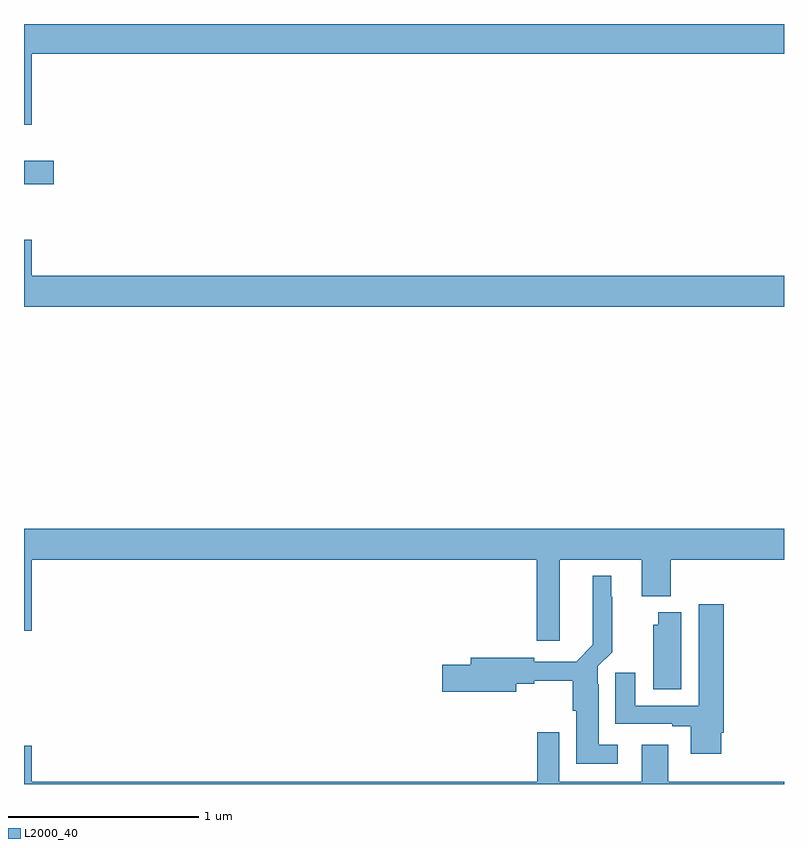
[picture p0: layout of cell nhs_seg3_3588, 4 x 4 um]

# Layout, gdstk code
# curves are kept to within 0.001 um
import gdstk
lib = gdstk.Library(unit=1e-6, precision=1e-09)
def R(c, l, rs):  # rectangles x0, y0, x1, y1
    for r in rs: c.add(gdstk.rectangle(r[:2], r[2:], *l))
def P(c, l, *ps):  # polygons
    for p in ps: c.add(gdstk.Polygon(p, *l))
L2000_40 = (2000, 40)

nhs_seg3_3588 = lib.new_cell('nhs_seg3_3588')
R(nhs_seg3_3588, L2000_40, [(297,705.557,297.157,705.679)])
P(nhs_seg3_3588, L2000_40, [(297.04,706.244),(301,706.244),(301,706.4),(297,706.4),(297,705.87),(297.04,705.87)],
  [(301,705.076),(297.04,705.076),(297.04,705.265),(297,705.265),(297,704.912),(301,704.912)],
  [(299.821,703.58),(300.251,703.58),(300.251,703.388),(300.404,703.388),(300.404,703.58),(301,703.58),(301,703.744),(297,703.744),(297,703.206),(297.04,703.206),(297.04,703.58),(299.699,703.58),(299.699,703.155),(299.821,703.155)],
  [(300.124,702.607),(300.025,702.607),(300.025,702.926),(300.021,702.926),(300.021,703.02),(300.095,703.094),(300.095,703.385),(300.091,703.385),(300.091,703.495),(299.993,703.495),(299.994,703.132),(299.906,703.044),(299.686,703.044),(299.686,703.064),(299.351,703.064),(299.351,703.028),(299.202,703.028),(299.202,702.886),(299.59,702.886),(299.59,702.928),(299.686,702.928),(299.686,702.943),(299.888,702.943),(299.888,702.786),(299.906,702.786),(299.906,702.506),(300.124,702.506)],
  [(300.67,702.67),(300.683,702.67),(300.683,703.345),(300.551,703.345),(300.551,702.813),(300.217,702.813),(300.217,702.985),(300.113,702.985),(300.113,702.717),(300.413,702.717),(300.413,702.705),(300.509,702.705),(300.509,702.558),(300.67,702.558)],
  [(300.46,703.303),(300.338,703.303),(300.338,703.239),(300.311,703.239),(300.311,702.898),(300.46,702.898)],
  [(301,702.412),(300.391,702.412),(300.391,702.607),(300.251,702.607),(300.251,702.412),(299.817,702.412),(299.817,702.673),(299.701,702.673),(299.701,702.412),(297.04,702.412),(297.04,702.601),(297,702.601),(297,702.4),(301,702.4)])

lib.write_gds('nhs_seg3_3588.gds')
